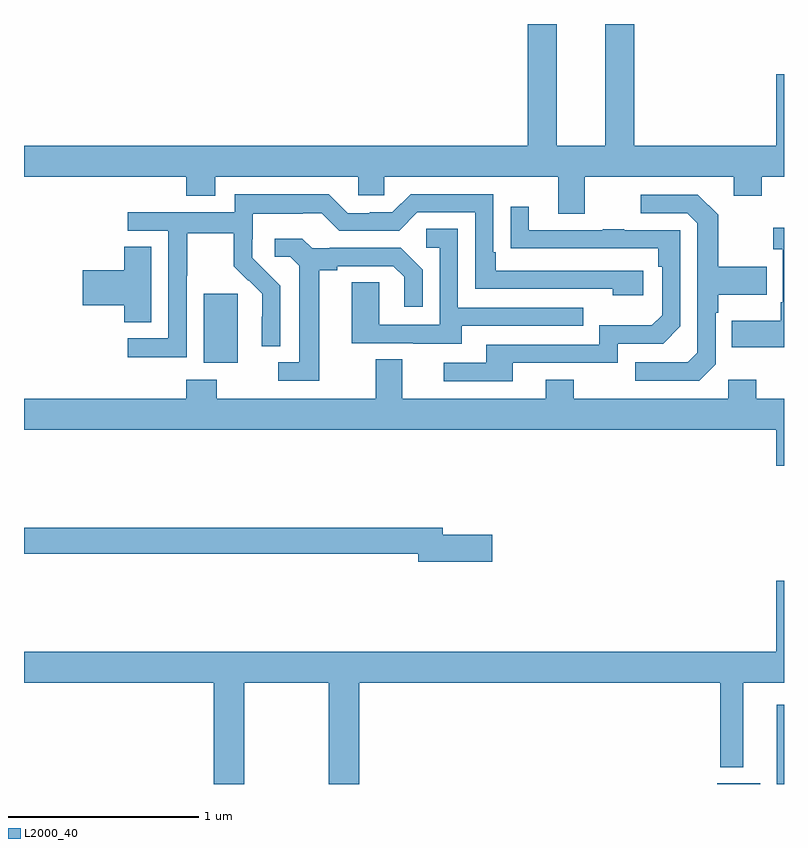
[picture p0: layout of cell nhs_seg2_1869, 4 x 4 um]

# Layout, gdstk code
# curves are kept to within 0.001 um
import gdstk
lib = gdstk.Library(unit=1e-6, precision=1e-09)
def R(c, l, rs):  # rectangles x0, y0, x1, y1
    for r in rs: c.add(gdstk.rectangle(r[:2], r[2:], *l))
def P(c, l, *ps):  # polygons
    for p in ps: c.add(gdstk.Polygon(p, *l))
L2000_40 = (2000, 40)

nhs_seg2_1869 = lib.new_cell('nhs_seg2_1869')
R(nhs_seg2_1869, L2000_40, [(212.648,617.8,212.875,617.803), (212.963,617.8,213,618.217), (209.945,620.018,210.124,620.379)])
P(nhs_seg2_1869, L2000_40, [(211.951,620.996),(212.735,620.996),(212.735,620.897),(212.883,620.897),(212.883,620.996),(213,620.996),(213,621.535),(212.96,621.535),(212.96,621.16),(212.213,621.16),(212.213,621.8),(212.06,621.8),(212.06,621.16),(211.804,621.16),(211.804,621.8),(211.652,621.8),(211.652,621.16),(209,621.16),(209,620.996),(209.855,620.996),(209.855,620.897),(210.007,620.897),(210.007,620.996),(210.759,620.996),(210.759,620.898),(210.897,620.898),(210.897,620.996),(211.811,620.996),(211.811,620.802),(211.951,620.802)],
  [(209.856,620.476),(209.859,620.476),(209.859,620.7),(210.103,620.7),(210.103,620.525),(210.18,620.448),(210.183,620.451),(210.254,620.381),(210.254,620.258),(210.252,620.258),(210.252,620.104),(210.348,620.104),(210.348,620.422),(210.202,620.57),(210.202,620.667),(210.204,620.667),(210.204,620.801),(210.467,620.801),(210.467,620.805),(210.567,620.805),(210.66,620.712),(210.975,620.712),(211.071,620.808),(211.374,620.808),(211.374,620.406),(212.099,620.406),(212.099,620.372),(212.26,620.372),(212.26,620.502),(211.483,620.502),(211.483,620.599),(211.47,620.599),(211.47,620.904),(211.035,620.904),(210.939,620.808),(210.821,620.808),(210.821,620.805),(210.705,620.805),(210.605,620.905),(210.108,620.905),(210.108,620.808),(209.547,620.808),(209.547,620.712),(209.76,620.712),(209.76,620.145),(209.547,620.145),(209.547,620.047),(209.856,620.047)],
  [(212.64,620.01),(212.64,620.279),(212.653,620.279),(212.653,620.375),(212.909,620.375),(212.909,620.523),(212.653,620.523),(212.653,620.795),(212.547,620.901),(212.247,620.901),(212.247,620.805),(212.49,620.805),(212.544,620.751),(212.544,620.07),(212.493,620.019),(212.217,620.019),(212.217,619.923),(212.553,619.923)],
  [(211.573,620.016),(212.124,620.016),(212.124,620.118),(212.364,620.118),(212.454,620.208),(212.454,620.715),(212.159,620.715),(212.159,620.72),(212.047,620.72),(212.047,620.715),(211.657,620.715),(211.657,620.839),(211.561,620.839),(211.561,620.62),(212.338,620.619),(212.338,620.522),(212.358,620.522),(212.358,620.268),(212.305,620.215),(212.028,620.215),(212.028,620.112),(211.433,620.112),(211.433,620.016),(211.209,620.016),(211.209,619.92),(211.573,619.92)],
  [(213,620.728),(212.943,620.728),(212.943,620.615),(212.994,620.615),(212.994,620.335),(212.982,620.335),(212.982,620.239),(212.725,620.239),(212.725,620.099),(213,620.099)],
  [(211.303,620.211),(211.943,620.211),(211.943,620.307),(211.284,620.307),(211.284,620.723),(211.116,620.723),(211.116,620.622),(211.188,620.622),(211.188,620.217),(210.87,620.217),(210.87,620.441),(210.725,620.441),(210.725,620.121),(211.049,620.121),(211.049,620.117),(211.303,620.117)],
  [(210.553,620.504),(210.649,620.504),(210.649,620.526),(210.944,620.526),(211.001,620.469),(211.001,620.313),(211.098,620.313),(211.098,620.506),(210.982,620.622),(210.61,620.622),(210.61,620.619),(210.516,620.619),(210.464,620.671),(210.321,620.671),(210.321,620.574),(210.402,620.574),(210.449,620.527),(210.449,620.019),(210.339,620.019),(210.339,619.923),(210.553,619.923)],
  [(209.671,620.627),(209.528,620.627),(209.528,620.504),(209.31,620.504),(209.31,620.321),(209.528,620.321),(209.528,620.23),(209.671,620.23)],
  [(213,619.828),(212.853,619.828),(212.853,619.927),(212.706,619.927),(212.706,619.828),(211.893,619.828),(211.893,619.927),(211.745,619.927),(211.745,619.828),(210.991,619.828),(210.991,620.036),(210.851,620.036),(210.851,619.828),(210.015,619.828),(210.015,619.927),(209.855,619.927),(209.855,619.828),(209,619.828),(209,619.664),(212.96,619.664),(212.96,619.476),(213,619.476)],
  [(211.465,619.112),(211.204,619.112),(211.204,619.148),(209,619.148),(209,619.012),(211.076,619.012),(211.076,618.97),(211.465,618.97)],
  [(210.159,618.332),(210.604,618.332),(210.604,617.8),(210.764,617.8),(210.764,618.332),(212.664,618.332),(212.664,617.888),(212.785,617.888),(212.785,618.332),(213,618.332),(213,618.871),(212.96,618.871),(212.96,618.496),(209,618.496),(209,618.332),(209.999,618.332),(209.999,617.8),(210.159,617.8)])

lib.write_gds('nhs_seg2_1869.gds')
